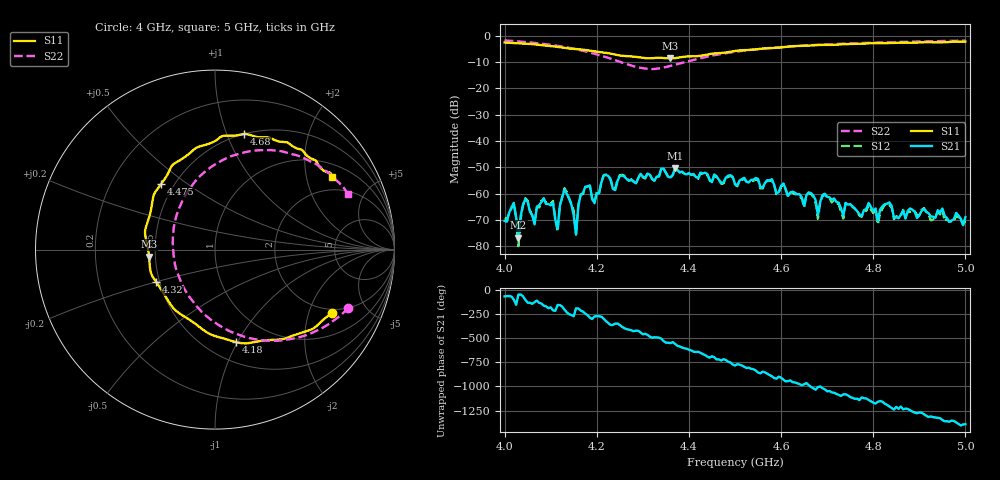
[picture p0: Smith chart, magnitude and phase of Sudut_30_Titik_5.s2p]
# Hz S RI R 50
! CMT, C1220, 16058040, 17.2.0/1
! Date: 15/08/2018 12:18:23
! Data: Format (Calibration Info)
! Freq  S11: Re/Im (F2)  S21: Re/Im (F2)  S12: Re/Im (F2)  S22: Re/Im (F2)
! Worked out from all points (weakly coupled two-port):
!   201 points, 4 GHz to 5 GHz, reference 50 ohm
!   highest |S21| = -50.38 dB at 4.37 GHz (marker M1); lowest = -76.6 dB at 4.03 GHz (marker M2)
!   lowest |S11| = -8.7 dB at 4.36 GHz (marker M3), VSWR 2.17, Z = 23.1 - j2.06 ohm
!   |S11| at or under -10 dB: nowhere
!   |S22| runs from -12.7 to -1.8 dB; largest |S21 - S12| = 0.00015
!   S11 on the Smith chart (normalised r, x): 4 GHz: 1.84, -2.88; 4.18 GHz: 0.69, -0.99; 4.32 GHz: 0.48, -0.20; 4.475 GHz: 0.43, +0.40; 4.68 GHz: 0.50, +1.15; 5 GHz: 1.43, +2.85
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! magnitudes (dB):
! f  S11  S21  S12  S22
! 4 GHz  -2.6  -70.3  -69.2  -1.8
! 4.02 GHz  -2.8  -63.7  -63.4  -2.1
! 4.03 GHz  -2.9  -76.6  -79.9  -2.2
! 4.045 GHz  -3.0  -62.0  -61.7  -2.4
! 4.065 GHz  -3.3  -71.6  -70.6  -2.8
! 4.105 GHz  -4.1  -63.5  -62.8  -3.6
! 4.115 GHz  -4.3  -73.4  -74.4  -3.9
! 4.13 GHz  -4.6  -58.4  -57.9  -4.3
! 4.155 GHz  -5.1  -75.6  -75.2  -5.1
! 4.17 GHz  -5.3  -59.8  -60.2  -5.7
! 4.18 GHz  -5.5  -57.3  -57.2  -6.2
! 4.32 GHz  -8.5  -54.3  -54.5  -12.7
! 4.335 GHz  -8.4  -53.4  -53.5  -12.4
! 4.36 GHz  -8.7  -53.8  -54.1  -11.5
! 4.37 GHz  -8.5  -50.4  -50.3  -11.0
! 4.475 GHz  -6.5  -55.8  -56.1  -6.8
! 4.5 GHz  -5.8  -56.3  -56.6  -6.1
! 4.67 GHz  -3.7  -60.7  -61.2  -3.6
! 4.68 GHz  -3.5  -68.2  -69.5  -3.5
! 4.695 GHz  -3.5  -60.0  -60.5  -3.4
! 4.835 GHz  -2.8  -63.3  -64.4  -2.5
! 5 GHz  -2.3  -68.9  -70.1  -1.9
